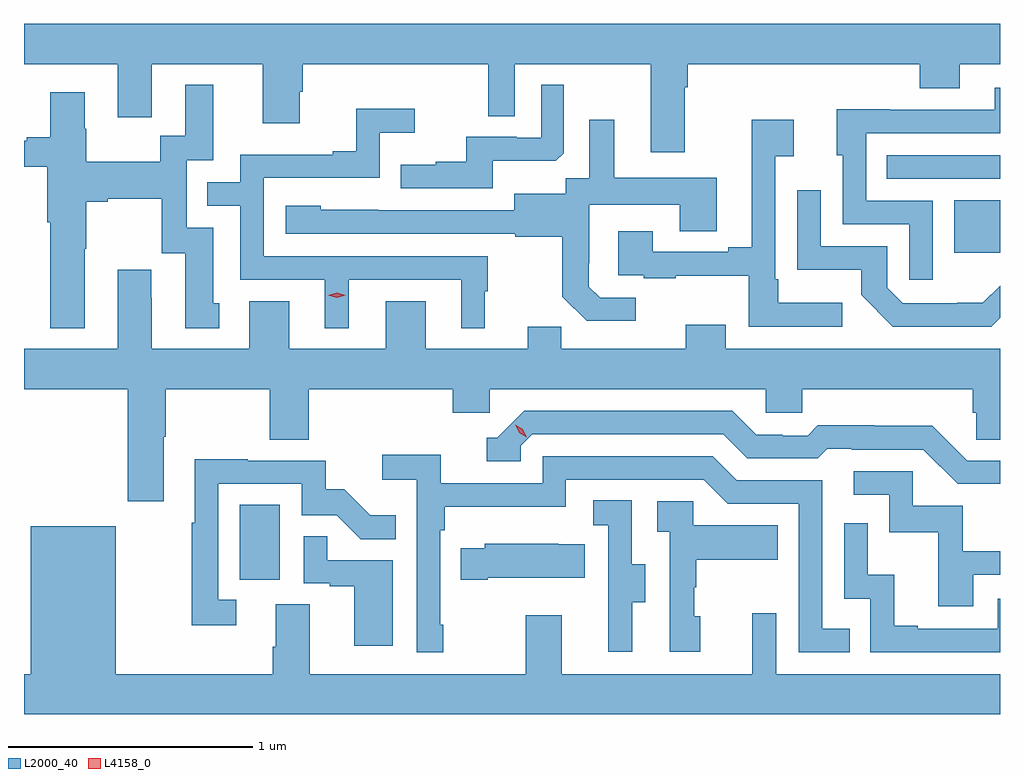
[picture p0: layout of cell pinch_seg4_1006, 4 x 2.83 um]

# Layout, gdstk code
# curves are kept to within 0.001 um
import gdstk
lib = gdstk.Library(unit=1e-6, precision=1e-09)
def R(c, l, rs):  # rectangles x0, y0, x1, y1
    for r in rs: c.add(gdstk.rectangle(r[:2], r[2:], *l))
def P(c, l, *ps):  # polygons
    for p in ps: c.add(gdstk.Polygon(p, *l))
L2000_40 = (2000, 40)
L4158_0 = (4158, 0)

pinch_seg4_1006 = lib.new_cell('pinch_seg4_1006')
R(pinch_seg4_1006, L2000_40, [(793.802,780.054,793.966,780.361), (796.73,781.394,796.917,781.609), (796.453,781.698,796.917,781.794)])
P(pinch_seg4_1006, L2000_40, [(792.917,782.168),(793.301,782.168),(793.301,781.95),(793.441,781.95),(793.441,782.168),(793.895,782.168),(793.895,781.926),(794.047,781.926),(794.047,782.055),(794.06,782.055),(794.06,782.168),(794.82,782.168),(794.82,781.954),(794.928,781.954),(794.928,782.168),(795.485,782.168),(795.485,781.806),(795.625,781.806),(795.625,782.072),(795.638,782.072),(795.638,782.168),(796.589,782.168),(796.589,782.069),(796.753,782.069),(796.753,782.168),(796.917,782.168),(796.917,782.332),(792.917,782.332)],
  [(794.839,781.772),(795.097,781.772),(795.129,781.803),(795.129,782.083),(795.036,782.083),(795.036,781.866),(794.936,781.866),(794.936,781.869),(794.729,781.869),(794.729,781.768),(794.605,781.768),(794.605,781.756),(794.461,781.756),(794.461,781.659),(794.839,781.659)],
  [(793.165,781.411),(793.173,781.411),(793.173,781.604),(793.261,781.604),(793.261,781.616),(793.481,781.616),(793.481,781.392),(793.577,781.392),(793.577,781.086),(793.717,781.086),(793.717,781.188),(793.693,781.188),(793.693,781.497),(793.584,781.497),(793.584,781.773),(793.693,781.773),(793.693,782.083),(793.577,782.083),(793.577,781.874),(793.476,781.874),(793.476,781.768),(793.173,781.768),(793.173,781.902),(793.165,781.902),(793.165,782.053),(793.025,782.053),(793.025,781.867),(792.929,781.867),(792.929,781.854),(792.917,781.854),(792.917,781.746),(793.013,781.746),(793.013,781.52),(793.025,781.52),(793.025,781.085),(793.165,781.085)],
  [(796.641,781.608),(796.368,781.608),(796.368,781.884),(796.917,781.884),(796.917,782.071),(796.895,782.071),(796.895,781.98),(796.465,781.98),(796.465,781.982),(796.247,781.982),(796.247,781.794),(796.272,781.794),(796.272,781.512),(796.545,781.512),(796.545,781.284),(796.641,781.284)],
  [(794.248,781.284),(794.708,781.284),(794.708,781.085),(794.806,781.085),(794.806,781.236),(794.818,781.236),(794.818,781.38),(793.899,781.38),(793.899,781.701),(794.376,781.701),(794.376,781.886),(794.518,781.886),(794.518,781.985),(794.278,781.985),(794.278,781.81),(794.183,781.81),(794.183,781.797),(793.803,781.797),(793.803,781.683),(793.669,781.683),(793.669,781.587),(793.803,781.587),(793.803,781.284),(794.15,781.284),(794.15,781.085),(794.248,781.085)],
  [(795.424,781.209),(795.279,781.209),(795.232,781.256),(795.232,781.351),(795.234,781.351),(795.234,781.592),(795.605,781.592),(795.605,781.483),(795.757,781.483),(795.757,781.702),(795.337,781.702),(795.337,781.939),(795.233,781.939),(795.233,781.7),(795.138,781.7),(795.138,781.636),(794.927,781.636),(794.927,781.569),(794.133,781.57),(794.133,781.588),(793.989,781.588),(793.989,781.473),(794.931,781.473),(794.931,781.461),(795.123,781.461),(795.123,781.215),(795.223,781.115),(795.424,781.115)],
  [(796.27,781.189),(796.009,781.189),(796.009,781.285),(795.996,781.285),(795.996,781.79),(796.072,781.79),(796.072,781.939),(795.899,781.939),(795.899,781.417),(795.803,781.417),(795.803,781.398),(795.493,781.398),(795.493,781.483),(795.353,781.483),(795.353,781.302),(795.457,781.302),(795.457,781.29),(795.589,781.29),(795.589,781.301),(795.888,781.301),(795.888,781.092),(796.27,781.092)],
  [(796.917,781.128),(796.917,781.26),(796.847,781.19),(796.742,781.19),(796.742,781.188),(796.518,781.188),(796.455,781.251),(796.455,781.422),(796.182,781.422),(796.182,781.651),(796.086,781.651),(796.086,781.325),(796.348,781.325),(796.348,781.223),(796.478,781.092),(796.881,781.092)],
  [(793.489,780.64),(793.497,780.64),(793.497,780.836),(793.924,780.836),(793.924,780.628),(794.084,780.628),(794.084,780.836),(794.675,780.836),(794.675,780.738),(794.826,780.738),(794.826,780.836),(795.957,780.836),(795.957,780.738),(796.107,780.738),(796.107,780.836),(796.805,780.836),(796.805,780.738),(796.819,780.738),(796.819,780.628),(796.917,780.628),(796.917,781),(795.793,781),(795.793,781.099),(795.629,781.099),(795.629,781),(795.119,781),(795.119,781.091),(794.981,781.091),(794.981,781),(794.563,781),(794.563,781.195),(794.399,781.195),(794.399,781),(794.005,781),(794.005,781.195),(793.841,781.195),(793.841,781),(793.441,781),(793.441,781.211),(793.438,781.211),(793.438,781.324),(793.301,781.324),(793.301,781),(792.917,781),(792.917,780.836),(793.342,780.836),(793.342,780.375),(793.489,780.375)],
  [(796.917,780.543),(796.782,780.543),(796.64,780.685),(796.404,780.685),(796.404,780.688),(796.171,780.688),(796.129,780.645),(796.026,780.645),(796.026,780.648),(795.919,780.648),(795.82,780.747),(794.967,780.747),(794.856,780.636),(794.813,780.636),(794.813,780.54),(794.952,780.54),(794.952,780.603),(795,780.651),(795.783,780.651),(795.882,780.552),(796.171,780.552),(796.21,780.591),(796.309,780.591),(796.309,780.588),(796.602,780.588),(796.743,780.447),(796.917,780.447)],
  [(794.635,779.869),(794.622,779.869),(794.622,780.257),(794.642,780.257),(794.642,780.353),(795.138,780.353),(795.138,780.465),(795.702,780.465),(795.801,780.366),(796.092,780.366),(796.092,779.757),(796.301,779.757),(796.301,779.853),(796.188,779.853),(796.188,780.462),(795.838,780.462),(795.739,780.561),(795.042,780.561),(795.042,780.45),(794.624,780.45),(794.624,780.566),(794.385,780.566),(794.385,780.464),(794.526,780.464),(794.526,779.757),(794.635,779.757)],
  [(793.786,779.973),(793.713,779.973),(793.713,780.447),(794.055,780.447),(794.055,780.318),(794.199,780.318),(794.297,780.22),(794.441,780.22),(794.441,780.319),(794.337,780.319),(794.23,780.426),(794.154,780.426),(794.154,780.543),(793.835,780.543),(793.835,780.548),(793.617,780.548),(793.617,780.287),(793.605,780.287),(793.605,779.868),(793.786,779.868)],
  [(796.807,780.075),(796.917,780.075),(796.917,780.171),(796.765,780.171),(796.765,780.357),(796.56,780.357),(796.56,780.498),(796.317,780.498),(796.317,780.402),(796.464,780.402),(796.464,780.249),(796.663,780.249),(796.663,779.946),(796.807,779.946)],
  [(795.409,779.962),(795.463,779.962),(795.463,780.117),(795.408,780.117),(795.408,780.38),(795.249,780.38),(795.249,780.277),(795.312,780.277),(795.312,779.973),(795.311,779.973),(795.311,779.76),(795.409,779.76)],
  [(795.688,779.904),(795.663,779.904),(795.663,780.023),(795.673,780.023),(795.673,780.137),(796.007,780.137),(796.007,780.277),(795.66,780.277),(795.66,780.375),(795.513,780.375),(795.513,780.251),(795.564,780.251),(795.564,779.76),(795.688,779.76)],
  [(796.917,779.976),(796.908,779.976),(796.908,779.853),(796.579,779.853),(796.579,779.866),(796.484,779.866),(796.484,780.074),(796.374,780.074),(796.374,780.286),(796.278,780.286),(796.278,779.976),(796.386,779.976),(796.386,779.757),(796.917,779.757)],
  [(796.917,779.668),(795.999,779.668),(795.999,779.917),(795.902,779.917),(795.902,779.668),(795.121,779.668),(795.121,779.908),(794.974,779.908),(794.974,779.668),(794.089,779.668),(794.089,779.954),(793.949,779.954),(793.949,779.78),(793.937,779.78),(793.937,779.668),(793.294,779.668),(793.294,780.274),(792.944,780.274),(792.944,779.668),(792.917,779.668),(792.917,779.504),(796.917,779.504)],
  [(794.428,780.135),(794.159,780.135),(794.159,780.233),(794.064,780.233),(794.064,780.039),(794.171,780.039),(794.171,780.027),(794.27,780.027),(794.27,779.784),(794.428,779.784)],
  [(794.818,780.062),(795.215,780.062),(795.215,780.199),(795.107,780.199),(795.107,780.202),(794.805,780.202),(794.805,780.184),(794.707,780.184),(794.707,780.055),(794.818,780.055)])
P(pinch_seg4_1006, L4158_0, [(794.977,780.638),(794.946,780.657),(794.93,780.69),(794.93,780.69),(794.93,780.69),(794.961,780.671),(794.978,780.638),(794.978,780.638)],
  [(794.199,781.21),(794.163,781.22),(794.163,781.22),(794.163,781.221),(794.199,781.23),(794.235,781.22),(794.235,781.22),(794.235,781.22)])

lib.write_gds('pinch_seg4_1006.gds')
